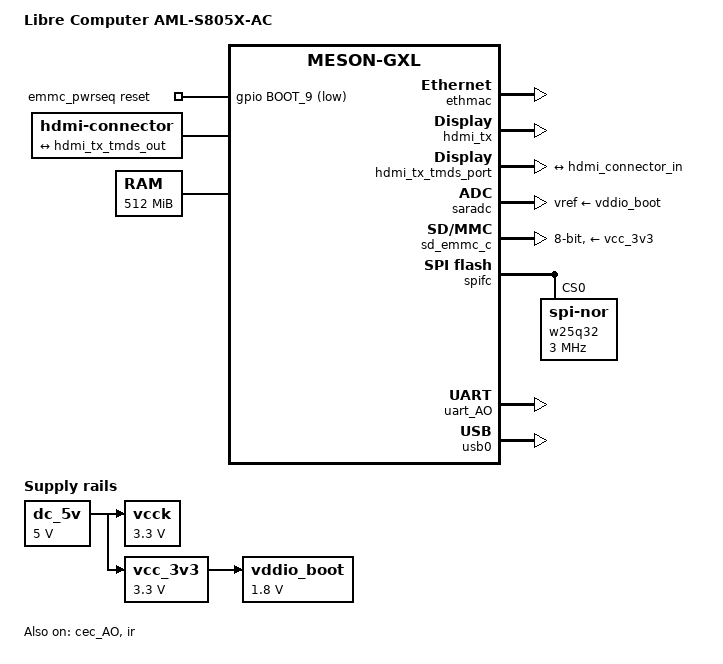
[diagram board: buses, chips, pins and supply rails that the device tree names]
// SPDX-License-Identifier: (GPL-2.0+ OR MIT)
/*
 * Copyright (c) 2018 BayLibre, SAS.
 * Author: Neil Armstrong <narmstrong@baylibre.com>
 * Author: Jerome Brunet <jbrunet@baylibre.com>
 */

/dts-v1/;

#include <dt-bindings/input/input.h>

#include "meson-gxl-s905x.dtsi"

/ {
	compatible = "libretech,aml-s805x-ac", "amlogic,s805x",
		     "amlogic,meson-gxl";
	model = "Libre Computer AML-S805X-AC";

	aliases {
		serial0 = &uart_AO;
		ethernet0 = &ethmac;
		spi0 = &spifc;
	};

	chosen {
		stdout-path = "serial0:115200n8";
	};

	cvbs-connector {
		/*
		 * The pads are present but no connector is soldered on
		 * 2J2, so keep this off by default.
		 */
		status = "disabled";
		compatible = "composite-video-connector";

		port {
			cvbs_connector_in: endpoint {
				remote-endpoint = <&cvbs_vdac_out>;
			};
		};
	};

	dc_5v: regulator-dc_5v {
		compatible = "regulator-fixed";
		regulator-name = "DC_5V";
		regulator-min-microvolt = <5000000>;
		regulator-max-microvolt = <5000000>;
		regulator-always-on;
	};

	emmc_pwrseq: emmc-pwrseq {
		compatible = "mmc-pwrseq-emmc";
		reset-gpios = <&gpio BOOT_9 GPIO_ACTIVE_LOW>;
	};

	hdmi-connector {
		compatible = "hdmi-connector";
		type = "a";

		port {
			hdmi_connector_in: endpoint {
				remote-endpoint = <&hdmi_tx_tmds_out>;
			};
		};
	};

	memory@0 {
		device_type = "memory";
		reg = <0x0 0x0 0x0 0x20000000>;
	};

	vcck: regulator-vcck {
		compatible = "regulator-fixed";
		regulator-name = "VCCK";
		regulator-min-microvolt = <3300000>;
		regulator-max-microvolt = <3300000>;
		vin-supply = <&dc_5v>;

		/*
		 * This is controlled by GPIOAO_9 we reserve this but
		 * claiming it as done below reset the board anyway
		 * Need to investigate this
		 *
		 * gpio = <&gpio_ao GPIOAO_9 GPIO_ACTIVE_HIGH>;
		 * enable-active-high;
		 */
		regulator-always-on;
	};

	vcc_3v3: regulator-vcc_3v3 {
		compatible = "regulator-fixed";
		regulator-name = "VCC_3V3";
		regulator-min-microvolt = <3300000>;
		regulator-max-microvolt = <3300000>;
		vin-supply = <&dc_5v>;
		regulator-always-on;
	};

	vddio_boot: regulator-vddio_boot {
		compatible = "regulator-fixed";
		regulator-name = "VDDIO_BOOT";
		regulator-min-microvolt = <1800000>;
		regulator-max-microvolt = <1800000>;
		vin-supply = <&vcc_3v3>;
		regulator-always-on;
	};
};

&cec_AO {
	status = "okay";
	pinctrl-0 = <&ao_cec_pins>;
	pinctrl-names = "default";
	hdmi-phandle = <&hdmi_tx>;
};

&cvbs_vdac_port {
	cvbs_vdac_out: endpoint {
		remote-endpoint = <&cvbs_connector_in>;
	};
};

&ethmac {
	status = "okay";
};

&internal_phy {
	pinctrl-0 = <&eth_link_led_pins>, <&eth_act_led_pins>;
	pinctrl-names = "default";
};

&ir {
	status = "okay";
	pinctrl-0 = <&remote_input_ao_pins>;
	pinctrl-names = "default";
};

&hdmi_tx {
	status = "okay";
	pinctrl-0 = <&hdmi_hpd_pins>, <&hdmi_i2c_pins>;
	pinctrl-names = "default";
};

&hdmi_tx_tmds_port {
	hdmi_tx_tmds_out: endpoint {
		remote-endpoint = <&hdmi_connector_in>;
	};
};

&gpio_ao {
	gpio-line-names = "UART TX",
			  "UART RX",
			  "7J1 Header Pin31",
			  "", "", "", "",
			  "IR In",
			  "HDMI CEC",
			  "5V VCCK Regulator",
			  /* GPIO_TEST_N */
			  "";
};

&gpio {
	gpio-line-names = /* Bank GPIOZ */
			  "", "", "", "", "", "", "",
			  "", "", "", "", "", "", "",
			  "Eth Link LED", "Eth Activity LED",
			  /* Bank GPIOH */
			  "HDMI HPD", "HDMI SDA", "HDMI SCL",
			  "", "7J1 Header Pin13",
			  "7J1 Header Pin15",
			  "7J1 Header Pin7",
			  "7J1 Header Pin12",
			  "7J1 Header Pin16",
			  "7J1 Header Pin18",
			  /* Bank BOOT */
			  "eMMC D0", "eMMC D1", "eMMC D2", "eMMC D3",
			  "eMMC D4", "eMMC D5", "eMMC D6", "eMMC D7",
			  "eMMC Clk", "eMMC Reset", "eMMC CMD",
			  "SPI NOR MOSI", "SPI NOR MISO", "SPI NOR Clk",
			  "", "SPI NOR Chip Select",
			  /* Bank CARD */
			  "", "", "", "", "", "", "",
			  /* Bank GPIODV */
			  "", "", "", "", "", "", "", "", "", "", "", "",
			  "", "", "", "", "", "", "", "", "", "", "", "",
			  "7J1 Header Pin27", "7J1 Header Pin28", "",
			  "7J1 Header Pin29",
			  "VCCK Regulator", "VDDEE Regulator",
			  /* Bank GPIOX */
			  "7J1 Header Pin22", "7J1 Header Pin26",
			  "7J1 Header Pin36", "7J1 Header Pin38",
			  "7J1 Header Pin40", "7J1 Header Pin37",
			  "7J1 Header Pin33", "7J1 Header Pin35",
			  "7J1 Header Pin19", "7J1 Header Pin21",
			  "7J1 Header Pin24", "7J1 Header Pin23",
			  "7J1 Header Pin8", "7J1 Header Pin10",
			  "", "", "7J1 Header Pin32", "", "",
			  /* Bank GPIOCLK */
			  "", "";
};

&saradc {
	status = "okay";
	vref-supply = <&vddio_boot>;
};

/* eMMC */
&sd_emmc_c {
	status = "okay";
	pinctrl-0 = <&emmc_pins>;
	pinctrl-1 = <&emmc_clk_gate_pins>;
	pinctrl-names = "default", "clk-gate";

	bus-width = <8>;
	cap-mmc-highspeed;
	mmc-ddr-1_8v;
	mmc-hs200-1_8v;
	max-frequency = <200000000>;
	disable-wp;

	mmc-pwrseq = <&emmc_pwrseq>;
	vmmc-supply = <&vcc_3v3>;
	vqmmc-supply = <&vddio_boot>;
};

&spifc {
	status = "okay";
	pinctrl-0 = <&nor_pins>;
	pinctrl-names = "default";

	w25q32: spi-flash@0 {
		#address-cells = <1>;
		#size-cells = <1>;
		compatible = "jedec,spi-nor";
		reg = <0>;
		spi-max-frequency = <3000000>;
	};
};

&uart_AO {
	status = "okay";
	pinctrl-0 = <&uart_ao_a_pins>;
	pinctrl-names = "default";
};

&usb0 {
	status = "okay";
};
